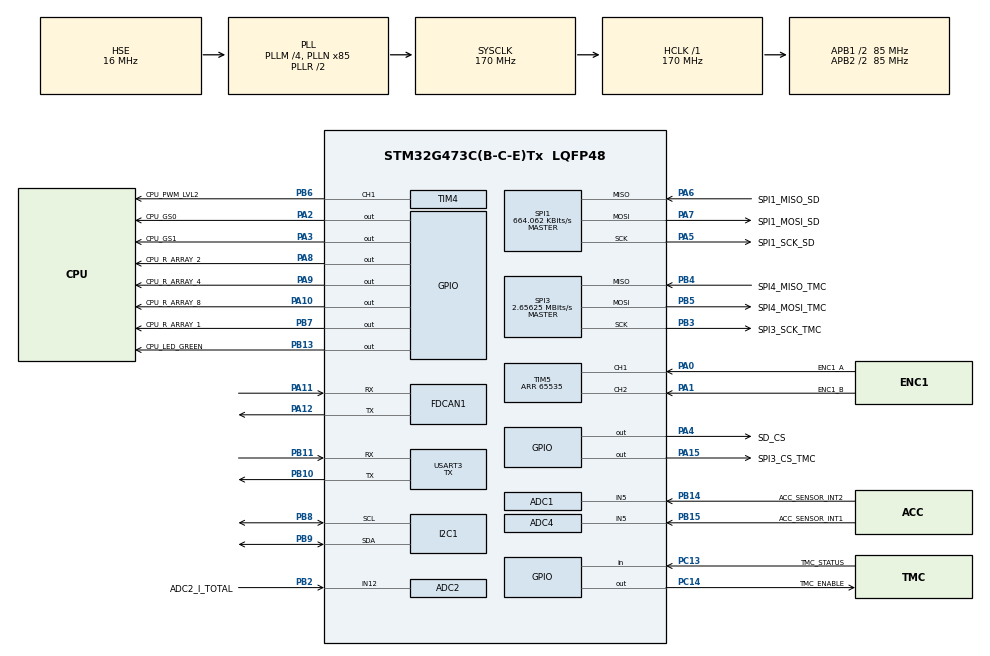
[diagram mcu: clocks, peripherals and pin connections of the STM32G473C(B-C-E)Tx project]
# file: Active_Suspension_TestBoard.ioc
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ADC1.Channel-0\#ChannelRegularConversion=ADC_CHANNEL_5
ADC1.NbrOfConversionFlag=1
ADC1.OffsetNumber-0\#ChannelRegularConversion=ADC_OFFSET_NONE
ADC1.Rank-0\#ChannelRegularConversion=1
ADC1.SamplingTime-0\#ChannelRegularConversion=ADC_SAMPLETIME_2CYCLES_5
ADC1.master=1
ADC2.Channel-2\#ChannelRegularConversion=ADC_CHANNEL_12
ADC2.Channel-3\#ChannelRegularConversion=ADC_CHANNEL_12
ADC2.Channel-4\#ChannelRegularConversion=ADC_CHANNEL_12
ADC2.ContinuousConvMode=ENABLE
ADC2.NbrOfConversion=3
ADC2.NbrOfConversionFlag=1
ADC2.OffsetNumber-2\#ChannelRegularConversion=ADC_OFFSET_NONE
ADC2.OffsetNumber-3\#ChannelRegularConversion=ADC_OFFSET_NONE
ADC2.OffsetNumber-4\#ChannelRegularConversion=ADC_OFFSET_NONE
ADC2.Rank-2\#ChannelRegularConversion=1
ADC2.Rank-3\#ChannelRegularConversion=2
ADC2.Rank-4\#ChannelRegularConversion=3
ADC2.Resolution=ADC_RESOLUTION_12B
ADC2.SamplingTime-2\#ChannelRegularConversion=ADC_SAMPLETIME_2CYCLES_5
ADC2.SamplingTime-3\#ChannelRegularConversion=ADC_SAMPLETIME_2CYCLES_5
ADC2.SamplingTime-4\#ChannelRegularConversion=ADC_SAMPLETIME_2CYCLES_5
ADC4.Channel-0\#ChannelRegularConversion=ADC_CHANNEL_5
ADC4.NbrOfConversionFlag=1
ADC4.OffsetNumber-0\#ChannelRegularConversion=ADC_OFFSET_NONE
ADC4.Rank-0\#ChannelRegularConversion=1
ADC4.SamplingTime-0\#ChannelRegularConversion=ADC_SAMPLETIME_2CYCLES_5
FDCAN1.CalculateBaudRateNominal=2656250
FDCAN1.CalculateTimeBitNominal=376
FDCAN1.CalculateTimeQuantumNominal=23.529411764705884
FDCAN1.ClockDivider=FDCAN_CLOCK_DIV1
FDCAN1.DataTimeSeg1=12
FDCAN1.DataTimeSeg2=3
FDCAN1.NominalPrescaler=2
FDCAN1.NominalTimeSeg1=12
FDCAN1.NominalTimeSeg2=3
FDCAN1.StdFiltersNbr=12
FDCAN1.TransmitPause=DISABLE
I2C1.Speed=50
I2C1.Timing=0x3050A5FF
Mcu.Family=STM32G4
Mcu.Name=STM32G473C(B-C-E)Tx
Mcu.Package=LQFP48
NVIC.FDCAN1_IT0_IRQn=true\:0\:0\:false\:false\:true\:true\:true\:true
NVIC.FDCAN1_IT1_IRQn=true\:0\:0\:false\:false\:true\:true\:true\:true
NVIC.PriorityGroup=NVIC_PRIORITYGROUP_4
NVIC.USART3_IRQn=true\:0\:0\:false\:false\:true\:true\:true\:true
PA0.GPIO_Label=ENC1_A
PA0.Signal=S_TIM5_CH1
PA1.GPIO_Label=ENC1_B
PA1.Signal=S_TIM5_CH2
PA10.GPIO_Label=CPU_R_ARRAY_8
PA10.Signal=GPIO_Output
PA11.Mode=FDCAN_Activate
PA11.Signal=FDCAN1_RX
PA12.Mode=FDCAN_Activate
PA12.Signal=FDCAN1_TX
PA13.Mode=Serial_Wire
PA13.Signal=SYS_JTMS-SWDIO
PA14.Mode=Serial_Wire
PA14.Signal=SYS_JTCK-SWCLK
PA15.GPIO_Label=SPI3_CS_TMC
PA15.Signal=GPIO_Output
PA2.GPIO_Label=CPU_GS0
PA2.Signal=GPIO_Output
PA3.GPIO_Label=CPU_GS1
PA3.Signal=GPIO_Output
PA4.GPIO_Label=SD_CS
PA4.Signal=GPIO_Output
PA5.GPIO_Label=SPI1_SCK_SD
PA5.Mode=Full_Duplex_Master
PA5.Signal=SPI1_SCK
PA6.GPIO_Label=SPI1_MISO_SD
PA6.Mode=Full_Duplex_Master
PA6.Signal=SPI1_MISO
PA7.GPIO_Label=SPI1_MOSI_SD
PA7.Mode=Full_Duplex_Master
PA7.Signal=SPI1_MOSI
PA8.GPIO_Label=CPU_R_ARRAY_2
PA8.Signal=GPIO_Output
PA9.GPIO_Label=CPU_R_ARRAY_4
PA9.Signal=GPIO_Output
PB10.GPIO_PuPd=GPIO_NOPULL
PB10.Mode=Asynchronous
PB10.Signal=USART3_TX
PB11.Mode=Asynchronous
PB11.Signal=USART3_RX
PB13.GPIO_Label=CPU_LED_GREEN
PB13.Signal=GPIO_Output
PB14.GPIO_Label=ACC_SENSOR_INT2
PB14.Mode=IN5-Single-Ended
PB14.Signal=ADC1_IN5
PB15.GPIO_Label=ACC_SENSOR_INT1
PB15.Mode=IN5-Single-Ended
PB15.Signal=ADC4_IN5
PB2.GPIO_Label=ADC2_I_TOTAL
PB2.Mode=IN12-Single-Ended
PB2.Signal=ADC2_IN12
PB3.GPIO_Label=SPI3_SCK_TMC
PB3.Mode=Full_Duplex_Master
PB3.Signal=SPI3_SCK
PB4.GPIO_Label=SPI4_MISO_TMC
PB4.Mode=Full_Duplex_Master
PB4.Signal=SPI3_MISO
PB5.GPIO_Label=SPI4_MOSI_TMC
PB5.Mode=Full_Duplex_Master
PB5.Signal=SPI3_MOSI
PB6.GPIO_Label=CPU_PWM_LVL2
PB6.Signal=S_TIM4_CH1
PB7.GPIO_Label=CPU_R_ARRAY_1
PB7.Signal=GPIO_Output
PB8-BOOT0.Mode=I2C
PB8-BOOT0.Signal=I2C1_SCL
PB9.Mode=I2C
PB9.Signal=I2C1_SDA
PC13.GPIO_Label=TMC_STATUS
PC13.Signal=GPIO_Input
PC14-OSC32_IN.GPIO_Label=TMC_ENABLE
PC14-OSC32_IN.Signal=GPIO_Output
PF0-OSC_IN.Mode=HSE-External-Oscillator
PF0-OSC_IN.Signal=RCC_OSC_IN
PF1-OSC_OUT.Mode=HSE-External-Oscillator
PF1-OSC_OUT.Signal=RCC_OSC_OUT
ProjectManager.HeapSize=0x200
ProjectManager.StackSize=0x400
ProjectManager.TargetToolchain=STM32CubeIDE
RCC.ADC12Freq_Value=170000000
RCC.ADC345Freq_Value=170000000
RCC.AHBFreq_Value=170000000
RCC.APB1CLKDivider=RCC_HCLK_DIV2
RCC.APB1Freq_Value=85000000
RCC.APB1TimFreq_Value=170000000
RCC.APB2CLKDivider=RCC_HCLK_DIV2
RCC.APB2Freq_Value=85000000
RCC.APB2TimFreq_Value=170000000
RCC.CortexFreq_Value=170000000
RCC.EXTERNAL_CLOCK_VALUE=12288000
RCC.HCLKFreq_Value=170000000
RCC.HSE_VALUE=16000000
RCC.HSI48_VALUE=48000000
RCC.HSI_VALUE=16000000
RCC.LSE_VALUE=32768
RCC.PLLM=RCC_PLLM_DIV4
RCC.PLLN=85
RCC.PLLSourceVirtual=RCC_PLLSOURCE_HSE
RCC.SYSCLKFreq_VALUE=170000000
RCC.SYSCLKSource=RCC_SYSCLKSOURCE_PLLCLK
RCC.USBFreq_Value=170000000
RCC.VCOOutputFreq_Value=340000000
SH.S_TIM4_CH1.0=TIM4_CH1,PWM Generation1 CH1
SH.S_TIM5_CH1.0=TIM5_CH1,Encoder_Interface
SH.S_TIM5_CH2.0=TIM5_CH2,Encoder_Interface
SPI1.BaudRatePrescaler=SPI_BAUDRATEPRESCALER_128
SPI1.CalculateBaudRate=664.062 KBits/s
SPI1.DataSize=SPI_DATASIZE_8BIT
SPI1.Direction=SPI_DIRECTION_2LINES
SPI1.Mode=SPI_MODE_MASTER
SPI1.VirtualType=VM_MASTER
SPI3.BaudRatePrescaler=SPI_BAUDRATEPRESCALER_32
SPI3.CLKPhase=SPI_PHASE_2EDGE
SPI3.CLKPolarity=SPI_POLARITY_HIGH
SPI3.CalculateBaudRate=2.65625 MBits/s
SPI3.DataSize=SPI_DATASIZE_8BIT
SPI3.Direction=SPI_DIRECTION_2LINES
SPI3.Mode=SPI_MODE_MASTER
SPI3.VirtualType=VM_MASTER
TIM4.Channel-PWM\ Generation1\ CH1=TIM_CHANNEL_1
TIM5.AutoReloadPreload=TIM_AUTORELOAD_PRELOAD_ENABLE
TIM5.EncoderMode=TIM_ENCODERMODE_TI12
TIM5.IC1Filter=10
TIM5.PeriodNoDither=65535
USART3.Mode=MODE_TX
USART3.VirtualMode-Asynchronous=VM_ASYNC
VP_FATFS_VS_Generic.Mode=User_defined
VP_SYS_VS_DBSignals.Mode=DisableDeadBatterySignals
board=custom

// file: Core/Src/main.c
/* USER CODE BEGIN Header */
/**
  ******************************************************************************
  * @file           : main.c
  * @brief          : Main program body
  ******************************************************************************
  * @attention
  *
  * Copyright (c) 2024 STMicroelectronics.
  * All rights reserved.
  *
  * This software is licensed under terms that can be found in the LICENSE file
  * in the root directory of this software component.
  * If no LICENSE file comes with this software, it is provided AS-IS.
  *
  ******************************************************************************
  */
/* USER CODE END Header */
#include "main.h"
#include "app_fatfs.h"

/* USER CODE BEGIN Includes */

#include "stdio.h"
#include "string.h"
#include "uart.h"
#include "stdarg.h"

#include "lis3dh.h"
#include "ff.h"
#include "sd_card.h"
/* USER CODE END Includes */

ADC_HandleTypeDef hadc1;
ADC_HandleTypeDef hadc2;
ADC_HandleTypeDef hadc4;

FDCAN_HandleTypeDef hfdcan1;

I2C_HandleTypeDef hi2c1;

SPI_HandleTypeDef hspi1;
SPI_HandleTypeDef hspi3;

TIM_HandleTypeDef htim4;
TIM_HandleTypeDef htim5;

UART_HandleTypeDef huart3;

void SystemClock_Config(void);
static void MX_GPIO_Init(void);
static void MX_FDCAN1_Init(void);
static void MX_I2C1_Init(void);
static void MX_TIM5_Init(void);
static void MX_SPI1_Init(void);
static void MX_ADC2_Init(void);
static void MX_ADC1_Init(void);
static void MX_ADC4_Init(void);
static void MX_SPI3_Init(void);
static void MX_TIM4_Init(void);
static void MX_USART3_UART_Init(void);

/* USER CODE BEGIN 0 */
void myprintf(const char *fmt, ...) {
  static char buffer[256];
  va_list args;
  va_start(args, fmt);
  vsnprintf(buffer, sizeof(buffer), fmt, args);
  va_end(args);

  int len = strlen(buffer);
  HAL_UART_Transmit(&huart3, (uint8_t*)buffer, len, -1);

}

FRESULT open_append (
    FIL* fp,            /* [OUT] File object to create */
    const char* path   /* [IN]  File name to be opened */
)
{
    FRESULT _fr;

    /* Opens an existing file. If not exist, creates a new file. */
    _fr = f_open(fp, path, FA_WRITE | FA_OPEN_ALWAYS);
    if (_fr == FR_OK) {
        /* Seek to end of the file to append data */
        _fr = f_lseek(fp, f_size(fp));
        if (_fr != FR_OK)
            f_close(fp);
    }
    return _fr;
}
/* USER CODE END 0 */

int main(void)
{

  /* MCU Configuration--------------------------------------------------------*/

  /* Reset of all peripherals, Initializes the Flash interface and the Systick. */
  HAL_Init();

  /* Configure the system clock */
  SystemClock_Config();

  /* Initialize all configured peripherals */
  MX_GPIO_Init();
  MX_FDCAN1_Init();
  MX_I2C1_Init();
  MX_TIM5_Init();
  MX_SPI1_Init();
  if (MX_FATFS_Init() != APP_OK) {
    Error_Handler();
  }
  MX_ADC2_Init();
  MX_ADC1_Init();
  MX_ADC4_Init();
  MX_SPI3_Init();
  MX_TIM4_Init();
  MX_USART3_UART_Init();
  /* USER CODE BEGIN 2 */

  system_init();

//  sysTim_addTask(taskLED, 1000);
//  sysTim_addTask(can_sendState, 200);

	  HAL_GPIO_WritePin(CPU_LED_GREEN_GPIO_Port, CPU_LED_GREEN_Pin, SET);

	  /*** SD Card Code ***/
	  HAL_Delay(1000);

	  FRESULT fres; //Result after operations
	FATFS fs; 	//Fatfs handle
	FIL fil; 		//File handle

	BYTE buffer[4096];

	fres = f_mount(&fs, "", 1);

	//Let's get some statistics from the SD card
	DWORD free_clusters, free_sectors, total_sectors;
	FATFS* getFreeFs;

	 //Print File Storage
	fres = f_getfree("", &free_clusters, &getFreeFs);
	if (fres != FR_OK) {
		sd_card_ErrorHandler();
	}
	/* Get total sectors and free sectors */
	total_sectors = (getFreeFs->n_fatent - 2) * getFreeFs->csize;
	free_sectors = free_clusters * getFreeFs->csize;

	/* Print the free space (assuming 512 bytes/sector) */
	myprintf("%10lu KiB total drive space.\n%10lu KiB available.\n", total_sectors / 2, free_sectors / 2);

	fres = f_lseek(&fil, 0);

	fres = open_append(&fil, "logfile.sdlogs");
	 if (fres != FR_OK) {
		sd_card_ErrorHandler();
	 }

	 buffer[0] = 20;
	 buffer[1] = 25;
	 buffer[2] = 30;

	 UINT bytesRead, bytesWrote;

	 fres = f_write(&fil, &buffer, sizeof buffer, &bytesWrote);

	 fres = f_lseek(&fil, 0);

	 fres = f_read(&fil, &buffer, sizeof buffer, &bytesRead);

//	 myprintf(buffer);x
	 for (UINT i = 0; i < bytesRead; i++) {
	     myprintf("buffer[%u] = %x\n", i, buffer[i]);
	 }

	 f_close(&fil);

	  /*** SD Card Code End ***/

  /* USER CODE END 2 */

  /* Infinite loop */
  /* USER CODE BEGIN WHILE */
	  uart_initUart(&huart3);

	  HAL_Delay(2000);
//	  char buffer[100];
//	  uint8_t counter = 0;
//	  lis3dh_initSensor();

//	  initFileSystem();
   while (1)
  {
//	   lis3dh_readSensorData();
//	   uart_sendUartDebugData(buffer, sizeof(buffer), "Counter: %d \n\r", counter);

//	   counter++;

	   HAL_Delay(100);

    /* USER CODE END WHILE */

    /* USER CODE BEGIN 3 */
//	sysTim_checkForEvents();
//	  HAL_GPIO_TogglePin(CPU_LED_GREEN_GPIO_Port, CPU_LED_GREEN_Pin);
//	  HAL_Delay(500);
  }
  /* USER CODE END 3 */
}

void SystemClock_Config(void)
{
  RCC_OscInitTypeDef RCC_OscInitStruct = {0};
  RCC_ClkInitTypeDef RCC_ClkInitStruct = {0};

  /** Configure the main internal regulator output voltage
  */
  HAL_PWREx_ControlVoltageScaling(PWR_REGULATOR_VOLTAGE_SCALE1_BOOST);

  /** Initializes the RCC Oscillators according to the specified parameters
  * in the RCC_OscInitTypeDef structure.
  */
  RCC_OscInitStruct.OscillatorType = RCC_OSCILLATORTYPE_HSE;
  RCC_OscInitStruct.HSEState = RCC_HSE_ON;
  RCC_OscInitStruct.PLL.PLLState = RCC_PLL_ON;
  RCC_OscInitStruct.PLL.PLLSource = RCC_PLLSOURCE_HSE;
  RCC_OscInitStruct.PLL.PLLM = RCC_PLLM_DIV4;
  RCC_OscInitStruct.PLL.PLLN = 85;
  RCC_OscInitStruct.PLL.PLLP = RCC_PLLP_DIV2;
  RCC_OscInitStruct.PLL.PLLQ = RCC_PLLQ_DIV2;
  RCC_OscInitStruct.PLL.PLLR = RCC_PLLR_DIV2;
  if (HAL_RCC_OscConfig(&RCC_OscInitStruct) != HAL_OK)
  {
    Error_Handler();
  }

  /** Initializes the CPU, AHB and APB buses clocks
  */
  RCC_ClkInitStruct.ClockType = RCC_CLOCKTYPE_HCLK|RCC_CLOCKTYPE_SYSCLK
                              |RCC_CLOCKTYPE_PCLK1|RCC_CLOCKTYPE_PCLK2;
  RCC_ClkInitStruct.SYSCLKSource = RCC_SYSCLKSOURCE_PLLCLK;
  RCC_ClkInitStruct.AHBCLKDivider = RCC_SYSCLK_DIV1;
  RCC_ClkInitStruct.APB1CLKDivider = RCC_HCLK_DIV2;
  RCC_ClkInitStruct.APB2CLKDivider = RCC_HCLK_DIV2;

  if (HAL_RCC_ClockConfig(&RCC_ClkInitStruct, FLASH_LATENCY_4) != HAL_OK)
  {
    Error_Handler();
  }
}

static void MX_ADC1_Init(void)
{

  ADC_MultiModeTypeDef multimode = {0};
  ADC_ChannelConfTypeDef sConfig = {0};

  /** Common config
  */
  hadc1.Instance = ADC1;
  hadc1.Init.ClockPrescaler = ADC_CLOCK_SYNC_PCLK_DIV4;
  hadc1.Init.Resolution = ADC_RESOLUTION_12B;
  hadc1.Init.DataAlign = ADC_DATAALIGN_RIGHT;
  hadc1.Init.GainCompensation = 0;
  hadc1.Init.ScanConvMode = ADC_SCAN_DISABLE;
  hadc1.Init.EOCSelection = ADC_EOC_SINGLE_CONV;
  hadc1.Init.LowPowerAutoWait = DISABLE;
  hadc1.Init.ContinuousConvMode = DISABLE;
  hadc1.Init.NbrOfConversion = 1;
  hadc1.Init.DiscontinuousConvMode = DISABLE;
  hadc1.Init.ExternalTrigConv = ADC_SOFTWARE_START;
  hadc1.Init.ExternalTrigConvEdge = ADC_EXTERNALTRIGCONVEDGE_NONE;
  hadc1.Init.DMAContinuousRequests = DISABLE;
  hadc1.Init.Overrun = ADC_OVR_DATA_PRESERVED;
  hadc1.Init.OversamplingMode = DISABLE;
  if (HAL_ADC_Init(&hadc1) != HAL_OK)
  {
    Error_Handler();
  }

  /** Configure the ADC multi-mode
  */
  multimode.Mode = ADC_MODE_INDEPENDENT;
  if (HAL_ADCEx_MultiModeConfigChannel(&hadc1, &multimode) != HAL_OK)
  {
    Error_Handler();
  }

  /** Configure Regular Channel
  */
  sConfig.Channel = ADC_CHANNEL_5;
  sConfig.Rank = ADC_REGULAR_RANK_1;
  sConfig.SamplingTime = ADC_SAMPLETIME_2CYCLES_5;
  sConfig.SingleDiff = ADC_SINGLE_ENDED;
  sConfig.OffsetNumber = ADC_OFFSET_NONE;
  sConfig.Offset = 0;
  if (HAL_ADC_ConfigChannel(&hadc1, &sConfig) != HAL_OK)
  {
    Error_Handler();
  }

}

static void MX_ADC2_Init(void)
{

  ADC_ChannelConfTypeDef sConfig = {0};

  /** Common config
  */
  hadc2.Instance = ADC2;
  hadc2.Init.ClockPrescaler = ADC_CLOCK_SYNC_PCLK_DIV4;
  hadc2.Init.Resolution = ADC_RESOLUTION_12B;
  hadc2.Init.DataAlign = ADC_DATAALIGN_RIGHT;
  hadc2.Init.GainCompensation = 0;
  hadc2.Init.ScanConvMode = ADC_SCAN_ENABLE;
  hadc2.Init.EOCSelection = ADC_EOC_SINGLE_CONV;
  hadc2.Init.LowPowerAutoWait = DISABLE;
  hadc2.Init.ContinuousConvMode = ENABLE;
  hadc2.Init.NbrOfConversion = 3;
  hadc2.Init.DiscontinuousConvMode = DISABLE;
  hadc2.Init.ExternalTrigConv = ADC_SOFTWARE_START;
  hadc2.Init.ExternalTrigConvEdge = ADC_EXTERNALTRIGCONVEDGE_NONE;
  hadc2.Init.DMAContinuousRequests = DISABLE;
  hadc2.Init.Overrun = ADC_OVR_DATA_PRESERVED;
  hadc2.Init.OversamplingMode = DISABLE;
  if (HAL_ADC_Init(&hadc2) != HAL_OK)
  {
    Error_Handler();
  }

  /** Configure Regular Channel
  */
  sConfig.Channel = ADC_CHANNEL_12;
  sConfig.Rank = ADC_REGULAR_RANK_1;
  sConfig.SamplingTime = ADC_SAMPLETIME_2CYCLES_5;
  sConfig.SingleDiff = ADC_SINGLE_ENDED;
  sConfig.OffsetNumber = ADC_OFFSET_NONE;
  sConfig.Offset = 0;
  if (HAL_ADC_ConfigChannel(&hadc2, &sConfig) != HAL_OK)
  {
    Error_Handler();
  }

  /** Configure Regular Channel
  */
  sConfig.Rank = ADC_REGULAR_RANK_2;
  if (HAL_ADC_ConfigChannel(&hadc2, &sConfig) != HAL_OK)
  {
    Error_Handler();
  }

  /** Configure Regular Channel
  */
  sConfig.Rank = ADC_REGULAR_RANK_3;
  if (HAL_ADC_ConfigChannel(&hadc2, &sConfig) != HAL_OK)
  {
    Error_Handler();
  }

}

static void MX_ADC4_Init(void)
{

  ADC_ChannelConfTypeDef sConfig = {0};

  /** Common config
  */
  hadc4.Instance = ADC4;
  hadc4.Init.ClockPrescaler = ADC_CLOCK_SYNC_PCLK_DIV4;
  hadc4.Init.Resolution = ADC_RESOLUTION_12B;
  hadc4.Init.DataAlign = ADC_DATAALIGN_RIGHT;
  hadc4.Init.GainCompensation = 0;
  hadc4.Init.ScanConvMode = ADC_SCAN_DISABLE;
  hadc4.Init.EOCSelection = ADC_EOC_SINGLE_CONV;
  hadc4.Init.LowPowerAutoWait = DISABLE;
  hadc4.Init.ContinuousConvMode = DISABLE;
  hadc4.Init.NbrOfConversion = 1;
  hadc4.Init.DiscontinuousConvMode = DISABLE;
  hadc4.Init.ExternalTrigConv = ADC_SOFTWARE_START;
  hadc4.Init.ExternalTrigConvEdge = ADC_EXTERNALTRIGCONVEDGE_NONE;
  hadc4.Init.DMAContinuousRequests = DISABLE;
  hadc4.Init.Overrun = ADC_OVR_DATA_PRESERVED;
  hadc4.Init.OversamplingMode = DISABLE;
  if (HAL_ADC_Init(&hadc4) != HAL_OK)
  {
    Error_Handler();
  }

  /** Configure Regular Channel
  */
  sConfig.Channel = ADC_CHANNEL_5;
  sConfig.Rank = ADC_REGULAR_RANK_1;
  sConfig.SamplingTime = ADC_SAMPLETIME_2CYCLES_5;
  sConfig.SingleDiff = ADC_SINGLE_ENDED;
  sConfig.OffsetNumber = ADC_OFFSET_NONE;
  sConfig.Offset = 0;
  if (HAL_ADC_ConfigChannel(&hadc4, &sConfig) != HAL_OK)
  {
    Error_Handler();
  }

}

static void MX_FDCAN1_Init(void)
{

  hfdcan1.Instance = FDCAN1;
  hfdcan1.Init.ClockDivider = FDCAN_CLOCK_DIV1;
  hfdcan1.Init.FrameFormat = FDCAN_FRAME_CLASSIC;
  hfdcan1.Init.Mode = FDCAN_MODE_NORMAL;
  hfdcan1.Init.AutoRetransmission = DISABLE;
  hfdcan1.Init.TransmitPause = DISABLE;
  hfdcan1.Init.ProtocolException = DISABLE;
  hfdcan1.Init.NominalPrescaler = 2;
  hfdcan1.Init.NominalSyncJumpWidth = 1;
  hfdcan1.Init.NominalTimeSeg1 = 12;
  hfdcan1.Init.NominalTimeSeg2 = 3;
  hfdcan1.Init.DataPrescaler = 1;
  hfdcan1.Init.DataSyncJumpWidth = 1;
  hfdcan1.Init.DataTimeSeg1 = 12;
  hfdcan1.Init.DataTimeSeg2 = 3;
  hfdcan1.Init.StdFiltersNbr = 12;
  hfdcan1.Init.ExtFiltersNbr = 0;
  hfdcan1.Init.TxFifoQueueMode = FDCAN_TX_FIFO_OPERATION;
  if (HAL_FDCAN_Init(&hfdcan1) != HAL_OK)
  {
    Error_Handler();
  }

}

static void MX_I2C1_Init(void)
{

  hi2c1.Instance = I2C1;
  hi2c1.Init.Timing = 0x3050A5FF;
  hi2c1.Init.OwnAddress1 = 0;
  hi2c1.Init.AddressingMode = I2C_ADDRESSINGMODE_7BIT;
  hi2c1.Init.DualAddressMode = I2C_DUALADDRESS_DISABLE;
  hi2c1.Init.OwnAddress2 = 0;
  hi2c1.Init.OwnAddress2Masks = I2C_OA2_NOMASK;
  hi2c1.Init.GeneralCallMode = I2C_GENERALCALL_DISABLE;
  hi2c1.Init.NoStretchMode = I2C_NOSTRETCH_DISABLE;
  if (HAL_I2C_Init(&hi2c1) != HAL_OK)
  {
    Error_Handler();
  }

  /** Configure Analogue filter
  */
  if (HAL_I2CEx_ConfigAnalogFilter(&hi2c1, I2C_ANALOGFILTER_ENABLE) != HAL_OK)
  {
    Error_Handler();
  }

  /** Configure Digital filter
  */
  if (HAL_I2CEx_ConfigDigitalFilter(&hi2c1, 0) != HAL_OK)
  {
    Error_Handler();
  }

}

static void MX_SPI1_Init(void)
{

  /* SPI1 parameter configuration*/
  hspi1.Instance = SPI1;
  hspi1.Init.Mode = SPI_MODE_MASTER;
  hspi1.Init.Direction = SPI_DIRECTION_2LINES;
  hspi1.Init.DataSize = SPI_DATASIZE_8BIT;
  hspi1.Init.CLKPolarity = SPI_POLARITY_LOW;
  hspi1.Init.CLKPhase = SPI_PHASE_1EDGE;
  hspi1.Init.NSS = SPI_NSS_SOFT;
  hspi1.Init.BaudRatePrescaler = SPI_BAUDRATEPRESCALER_128;
  hspi1.Init.FirstBit = SPI_FIRSTBIT_MSB;
  hspi1.Init.TIMode = SPI_TIMODE_DISABLE;
  hspi1.Init.CRCCalculation = SPI_CRCCALCULATION_DISABLE;
  hspi1.Init.CRCPolynomial = 7;
  hspi1.Init.CRCLength = SPI_CRC_LENGTH_DATASIZE;
  hspi1.Init.NSSPMode = SPI_NSS_PULSE_ENABLE;
  if (HAL_SPI_Init(&hspi1) != HAL_OK)
  {
    Error_Handler();
  }

}

static void MX_SPI3_Init(void)
{

  /* SPI3 parameter configuration*/
  hspi3.Instance = SPI3;
  hspi3.Init.Mode = SPI_MODE_MASTER;
  hspi3.Init.Direction = SPI_DIRECTION_2LINES;
  hspi3.Init.DataSize = SPI_DATASIZE_8BIT;
  hspi3.Init.CLKPolarity = SPI_POLARITY_HIGH;
  hspi3.Init.CLKPhase = SPI_PHASE_2EDGE;
  hspi3.Init.NSS = SPI_NSS_SOFT;
  hspi3.Init.BaudRatePrescaler = SPI_BAUDRATEPRESCALER_32;
  hspi3.Init.FirstBit = SPI_FIRSTBIT_MSB;
  hspi3.Init.TIMode = SPI_TIMODE_DISABLE;
  hspi3.Init.CRCCalculation = SPI_CRCCALCULATION_DISABLE;
  hspi3.Init.CRCPolynomial = 7;
  hspi3.Init.CRCLength = SPI_CRC_LENGTH_DATASIZE;
  hspi3.Init.NSSPMode = SPI_NSS_PULSE_DISABLE;
  if (HAL_SPI_Init(&hspi3) != HAL_OK)
  {
    Error_Handler();
  }

}

static void MX_TIM4_Init(void)
{

  TIM_MasterConfigTypeDef sMasterConfig = {0};
  TIM_OC_InitTypeDef sConfigOC = {0};

  htim4.Instance = TIM4;
  htim4.Init.Prescaler = 0;
  htim4.Init.CounterMode = TIM_COUNTERMODE_UP;
  htim4.Init.Period = 65535;
  htim4.Init.ClockDivision = TIM_CLOCKDIVISION_DIV1;
  htim4.Init.AutoReloadPreload = TIM_AUTORELOAD_PRELOAD_DISABLE;
  if (HAL_TIM_PWM_Init(&htim4) != HAL_OK)
  {
    Error_Handler();
  }
  sMasterConfig.MasterOutputTrigger = TIM_TRGO_RESET;
  sMasterConfig.MasterSlaveMode = TIM_MASTERSLAVEMODE_DISABLE;
  if (HAL_TIMEx_MasterConfigSynchronization(&htim4, &sMasterConfig) != HAL_OK)
  {
    Error_Handler();
  }
  sConfigOC.OCMode = TIM_OCMODE_PWM1;
  sConfigOC.Pulse = 0;
  sConfigOC.OCPolarity = TIM_OCPOLARITY_HIGH;
  sConfigOC.OCFastMode = TIM_OCFAST_DISABLE;
  if (HAL_TIM_PWM_ConfigChannel(&htim4, &sConfigOC, TIM_CHANNEL_1) != HAL_OK)
  {
    Error_Handler();
  }
  HAL_TIM_MspPostInit(&htim4);

}

static void MX_TIM5_Init(void)
{

  TIM_Encoder_InitTypeDef sConfig = {0};
  TIM_MasterConfigTypeDef sMasterConfig = {0};

  htim5.Instance = TIM5;
  htim5.Init.Prescaler = 0;
  htim5.Init.CounterMode = TIM_COUNTERMODE_UP;
  htim5.Init.Period = 65535;
  htim5.Init.ClockDivision = TIM_CLOCKDIVISION_DIV1;
  htim5.Init.AutoReloadPreload = TIM_AUTORELOAD_PRELOAD_ENABLE;
  sConfig.EncoderMode = TIM_ENCODERMODE_TI12;
  sConfig.IC1Polarity = TIM_ICPOLARITY_RISING;
  sConfig.IC1Selection = TIM_ICSELECTION_DIRECTTI;
  sConfig.IC1Prescaler = TIM_ICPSC_DIV1;
  sConfig.IC1Filter = 10;
  sConfig.IC2Polarity = TIM_ICPOLARITY_RISING;
  sConfig.IC2Selection = TIM_ICSELECTION_DIRECTTI;
  sConfig.IC2Prescaler = TIM_ICPSC_DIV1;
  sConfig.IC2Filter = 0;
  if (HAL_TIM_Encoder_Init(&htim5, &sConfig) != HAL_OK)
  {
    Error_Handler();
  }
  sMasterConfig.MasterOutputTrigger = TIM_TRGO_RESET;
  sMasterConfig.MasterSlaveMode = TIM_MASTERSLAVEMODE_DISABLE;
  if (HAL_TIMEx_MasterConfigSynchronization(&htim5, &sMasterConfig) != HAL_OK)
  {
    Error_Handler();
  }

}

static void MX_USART3_UART_Init(void)
{

  huart3.Instance = USART3;
  huart3.Init.BaudRate = 115200;
  huart3.Init.WordLength = UART_WORDLENGTH_8B;
  huart3.Init.StopBits = UART_STOPBITS_1;
  huart3.Init.Parity = UART_PARITY_NONE;
  huart3.Init.Mode = UART_MODE_TX;
  huart3.Init.HwFlowCtl = UART_HWCONTROL_NONE;
  huart3.Init.OverSampling = UART_OVERSAMPLING_16;
  huart3.Init.OneBitSampling = UART_ONE_BIT_SAMPLE_DISABLE;
  huart3.Init.ClockPrescaler = UART_PRESCALER_DIV1;
  huart3.AdvancedInit.AdvFeatureInit = UART_ADVFEATURE_NO_INIT;
  if (HAL_UART_Init(&huart3) != HAL_OK)
  {
    Error_Handler();
  }
  if (HAL_UARTEx_SetTxFifoThreshold(&huart3, UART_TXFIFO_THRESHOLD_1_8) != HAL_OK)
  {
    Error_Handler();
  }
  if (HAL_UARTEx_SetRxFifoThreshold(&huart3, UART_RXFIFO_THRESHOLD_1_8) != HAL_OK)
  {
    Error_Handler();
  }
  if (HAL_UARTEx_DisableFifoMode(&huart3) != HAL_OK)
  {
    Error_Handler();
  }

}

static void MX_GPIO_Init(void)
{
  GPIO_InitTypeDef GPIO_InitStruct = {0};

  /* GPIO Ports Clock Enable */
  __HAL_RCC_GPIOC_CLK_ENABLE();
  __HAL_RCC_GPIOF_CLK_ENABLE();
  __HAL_RCC_GPIOA_CLK_ENABLE();
  __HAL_RCC_GPIOB_CLK_ENABLE();

  /*Configure GPIO pin Output Level */
  HAL_GPIO_WritePin(TMC_ENABLE_GPIO_Port, TMC_ENABLE_Pin, GPIO_PIN_RESET);

  /*Configure GPIO pin Output Level */
  HAL_GPIO_WritePin(GPIOA, CPU_GS0_Pin|CPU_GS1_Pin|SD_CS_Pin|CPU_R_ARRAY_2_Pin
                          |CPU_R_ARRAY_4_Pin|CPU_R_ARRAY_8_Pin|SPI3_CS_TMC_Pin, GPIO_PIN_RESET);

  /*Configure GPIO pin Output Level */
  HAL_GPIO_WritePin(GPIOB, CPU_LED_GREEN_Pin|CPU_R_ARRAY_1_Pin, GPIO_PIN_RESET);

  /*Configure GPIO pin : TMC_STATUS_Pin */
  GPIO_InitStruct.Pin = TMC_STATUS_Pin;
  GPIO_InitStruct.Mode = GPIO_MODE_INPUT;
  GPIO_InitStruct.Pull = GPIO_NOPULL;
  HAL_GPIO_Init(TMC_STATUS_GPIO_Port, &GPIO_InitStruct);

  /*Configure GPIO pin : TMC_ENABLE_Pin */
  GPIO_InitStruct.Pin = TMC_ENABLE_Pin;
  GPIO_InitStruct.Mode = GPIO_MODE_OUTPUT_PP;
  GPIO_InitStruct.Pull = GPIO_NOPULL;
  GPIO_InitStruct.Speed = GPIO_SPEED_FREQ_LOW;
  HAL_GPIO_Init(TMC_ENABLE_GPIO_Port, &GPIO_InitStruct);

  /*Configure GPIO pins : CPU_GS0_Pin CPU_GS1_Pin SD_CS_Pin CPU_R_ARRAY_2_Pin
                           CPU_R_ARRAY_4_Pin CPU_R_ARRAY_8_Pin SPI3_CS_TMC_Pin */
  GPIO_InitStruct.Pin = CPU_GS0_Pin|CPU_GS1_Pin|SD_CS_Pin|CPU_R_ARRAY_2_Pin
                          |CPU_R_ARRAY_4_Pin|CPU_R_ARRAY_8_Pin|SPI3_CS_TMC_Pin;
  GPIO_InitStruct.Mode = GPIO_MODE_OUTPUT_PP;
  GPIO_InitStruct.Pull = GPIO_NOPULL;
  GPIO_InitStruct.Speed = GPIO_SPEED_FREQ_LOW;
  HAL_GPIO_Init(GPIOA, &GPIO_InitStruct);

  /*Configure GPIO pins : CPU_LED_GREEN_Pin CPU_R_ARRAY_1_Pin */
  GPIO_InitStruct.Pin = CPU_LED_GREEN_Pin|CPU_R_ARRAY_1_Pin;
  GPIO_InitStruct.Mode = GPIO_MODE_OUTPUT_PP;
  GPIO_InitStruct.Pull = GPIO_NOPULL;
  GPIO_InitStruct.Speed = GPIO_SPEED_FREQ_LOW;
  HAL_GPIO_Init(GPIOB, &GPIO_InitStruct);

}

/* USER CODE BEGIN 4 */

/* USER CODE BEGIN 4 */
void system_init(void){

	//CAN Initialization

	//Level3 Init

}

/* USER CODE END 4 */

void Error_Handler(void)
{
  __disable_irq();
  while (1)
  {
  }
}
